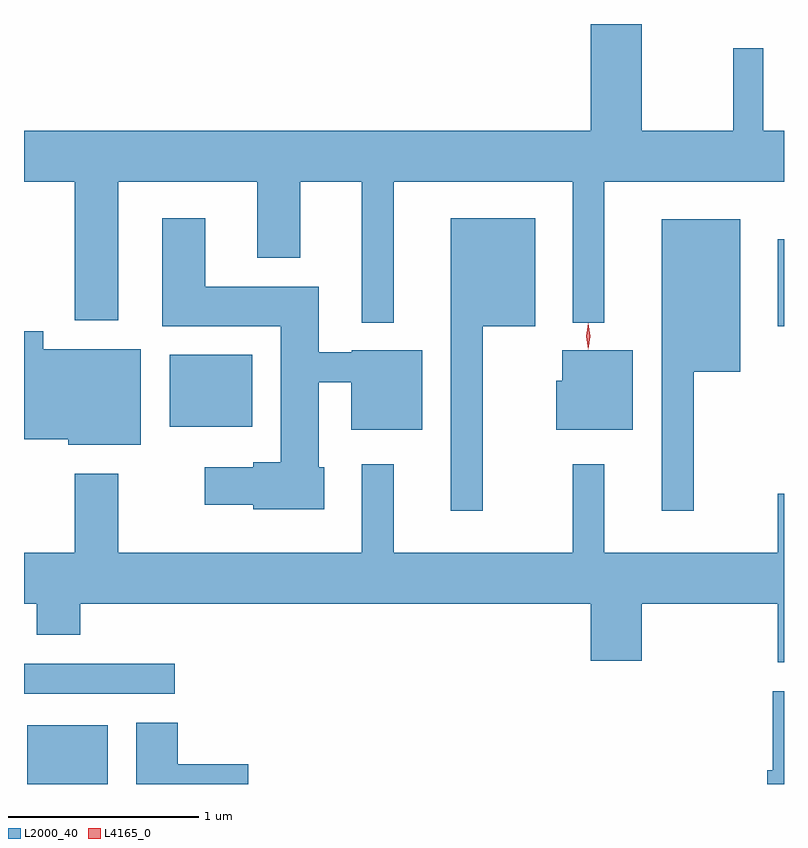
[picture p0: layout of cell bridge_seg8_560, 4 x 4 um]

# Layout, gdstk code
import gdstk
lib = gdstk.Library(unit=1e-6, precision=1e-09)
def R(c, l, rs):  # rectangles x0, y0, x1, y1
    for r in rs: c.add(gdstk.rectangle(r[:2], r[2:], *l))
def P(c, l, *ps):  # polygons
    for p in ps: c.add(gdstk.Polygon(p, *l))
L2000_40 = (2000, 40)
L4165_0 = (4165, 0)

bridge_seg8_560 = lib.new_cell('bridge_seg8_560')
R(bridge_seg8_560, L2000_40, [(551.771,1822.146,552.194,1822.454), (551.754,1822.621,552.548,1822.779), (552.521,1824.026,552.954,1824.404), (555.721,1824.556,555.754,1825.014)])
P(bridge_seg8_560, L2000_40, [(553.699,1825.316),(554.641,1825.316),(554.641,1824.573),(554.809,1824.573),(554.809,1825.316),(555.754,1825.316),(555.754,1825.584),(555.644,1825.584),(555.644,1826.018),(555.486,1826.018),(555.486,1825.584),(555.004,1825.584),(555.004,1826.146),(554.736,1826.146),(554.736,1825.584),(551.754,1825.584),(551.754,1825.316),(552.021,1825.316),(552.021,1824.586),(552.249,1824.586),(552.249,1825.316),(552.981,1825.316),(552.981,1824.916),(553.209,1824.916),(553.209,1825.316),(553.531,1825.316),(553.531,1824.573),(553.699,1824.573)],
  [(554.169,1824.556),(554.444,1824.556),(554.444,1825.124),(554.001,1825.124),(554.001,1823.583),(554.169,1823.583)],
  [(553.334,1823.814),(553.304,1823.814),(553.304,1824.261),(553.476,1824.261),(553.476,1824.011),(553.849,1824.011),(553.849,1824.429),(553.48,1824.429),(553.48,1824.419),(553.304,1824.419),(553.304,1824.764),(552.709,1824.764),(552.709,1825.124),(552.481,1825.124),(552.481,1824.556),(553.106,1824.556),(553.106,1823.839),(552.961,1823.839),(552.961,1823.814),(552.706,1823.814),(552.706,1823.616),(552.961,1823.616),(552.961,1823.591),(553.334,1823.591)],
  [(555.279,1824.316),(555.524,1824.316),(555.524,1825.119),(555.111,1825.119),(555.111,1823.583),(555.279,1823.583)],
  [(552.369,1824.434),(551.854,1824.434),(551.854,1824.529),(551.754,1824.529),(551.754,1823.961),(551.986,1823.961),(551.986,1823.931),(552.369,1823.931)],
  [(554.959,1824.429),(554.586,1824.429),(554.586,1824.269),(554.556,1824.269),(554.556,1824.011),(554.959,1824.011)],
  [(555.754,1823.674),(555.721,1823.674),(555.721,1823.364),(554.809,1823.364),(554.809,1823.828),(554.641,1823.828),(554.641,1823.364),(553.699,1823.364),(553.699,1823.828),(553.531,1823.828),(553.531,1823.364),(552.249,1823.364),(552.249,1823.779),(552.021,1823.779),(552.021,1823.364),(551.754,1823.364),(551.754,1823.096),(551.821,1823.096),(551.821,1822.931),(552.049,1822.931),(552.049,1823.096),(554.736,1823.096),(554.736,1822.796),(555.004,1822.796),(555.004,1823.096),(555.721,1823.096),(555.721,1822.786),(555.754,1822.786)],
  [(555.754,1822.634),(555.696,1822.634),(555.696,1822.219),(555.666,1822.219),(555.666,1822.146),(555.754,1822.146)],
  [(552.934,1822.249),(552.564,1822.249),(552.564,1822.469),(552.346,1822.469),(552.346,1822.146),(552.934,1822.146)])
P(bridge_seg8_560, L4165_0, [(554.723,1824.439),(554.723,1824.439),(554.713,1824.503),(554.723,1824.567),(554.723,1824.567),(554.724,1824.567),(554.733,1824.503),(554.724,1824.439)],
  [(554.723,1824.434),(554.723,1824.434),(554.713,1824.502),(554.723,1824.57),(554.723,1824.57),(554.724,1824.57),(554.733,1824.502),(554.724,1824.434)])

lib.write_gds('bridge_seg8_560.gds')
